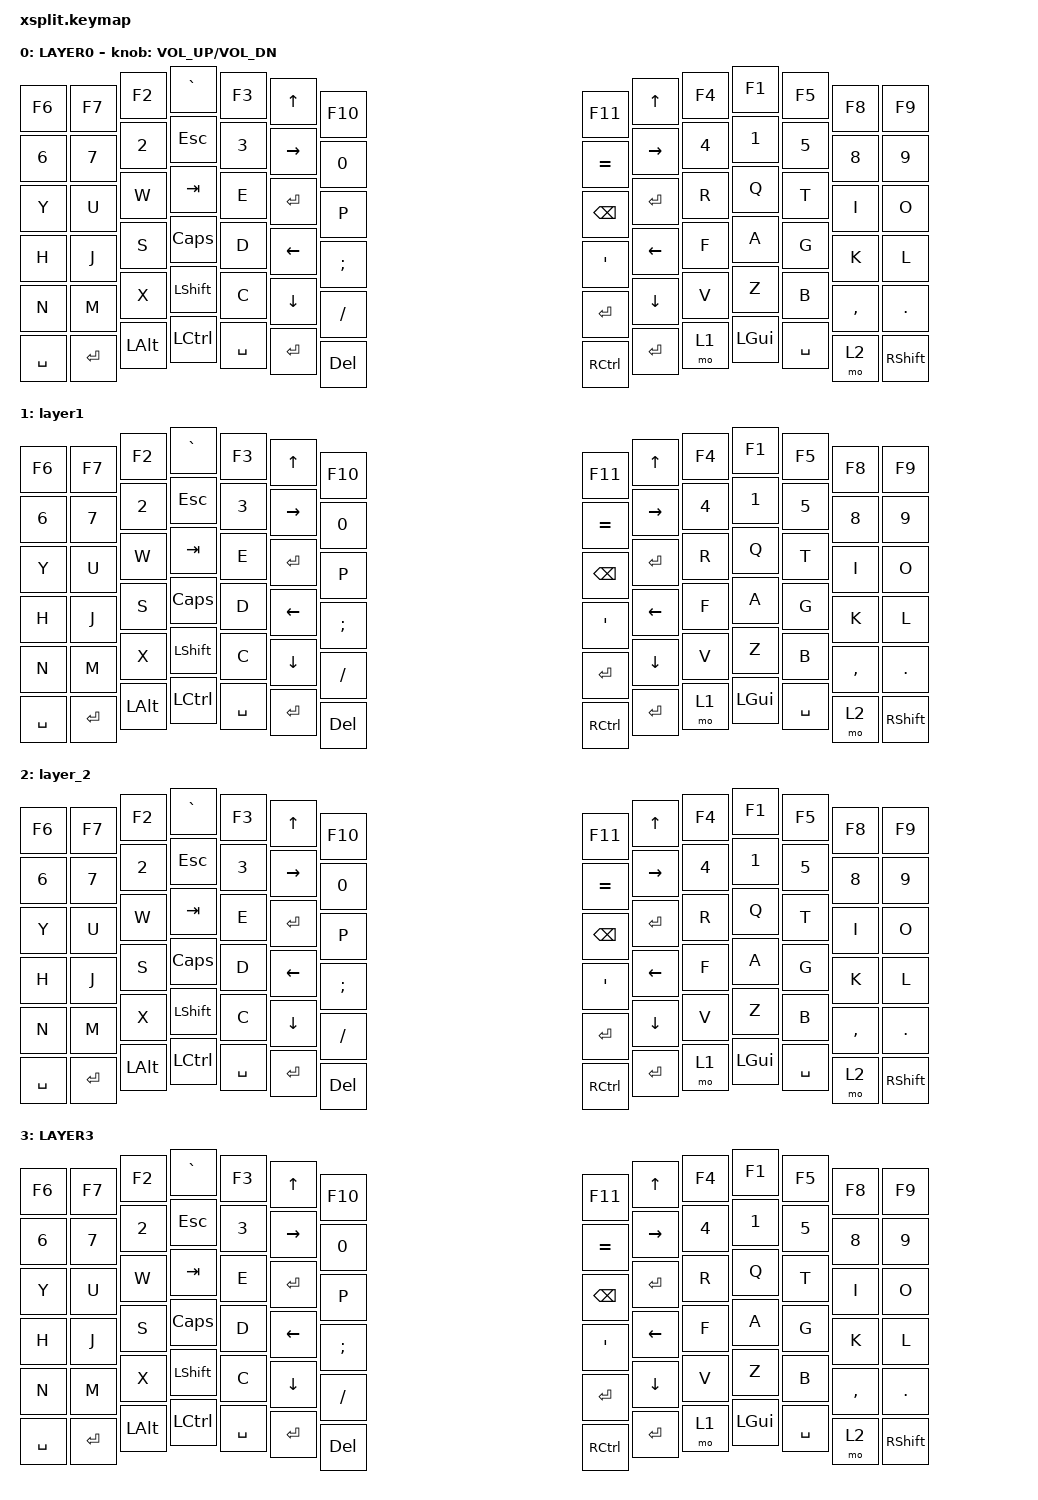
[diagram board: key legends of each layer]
#define ZMK_POINTING_DEFAULT_MOVE_VAL 1200  // 600
#define ZMK_POINTING_DEFAULT_SCRL_VAL 25   // 10

#include <input/processors.dtsi>
#include <zephyr/dt-bindings/input/input-event-codes.h>
#include <behaviors.dtsi>
#include <dt-bindings/zmk/keys.h>
#include <dt-bindings/zmk/pointing.h>

&mmv_input_listener { input-processors = <&zip_xy_scaler 2 1>; };

&msc_input_listener { input-processors = <&zip_scroll_scaler 2 1>; };

&msc {
    acceleration-exponent = <1>;      // 0
    time-to-max-speed-ms = <100>;       // 300
    delay-ms = <0>;                   // 0
};

&mmv {
    time-to-max-speed-ms = <500>;
    acceleration-exponent = <1>;
    trigger-period-ms = <16>;
};

&lt {
};

/ {
    scroll_encoder: scroll_encoder {
        compatible = "zmk,behavior-sensor-rotate";
        #sensor-binding-cells = <0>;
        bindings = <&msc SCRL_DOWN>, <&msc SCRL_UP>;

        tap-ms = <100>;
    };

    behaviors {
    };

    xsplit_keymap: keymap {
        compatible = "zmk,keymap";

        layer0 {
            bindings = <
&kp GRAVE  &kp F1    &kp F2    &kp F3     &kp F4  &kp F5     &kp UP     &kp UP     &kp F6     &kp F7     &kp F8     &kp F9           &kp F10     &kp F11
&kp ESC    &kp N1    &kp N2    &kp N3     &kp N4  &kp N5     &kp RIGHT  &kp RIGHT  &kp N6     &kp N7     &kp N8     &kp N9           &kp N0      &kp EQUAL
&kp TAB    &kp Q     &kp W     &kp E      &kp R   &kp T      &kp RET    &kp RET    &kp Y      &kp U      &kp I      &kp O            &kp P       &kp BSPC
&kp CAPS   &kp A     &kp S     &kp D      &kp F   &kp G      &kp LEFT   &kp LEFT   &kp H      &kp J      &kp K      &kp L            &kp SEMI    &kp APOS
&kp LSHFT  &kp Z     &kp X     &kp C      &kp V   &kp B      &kp DOWN   &kp DOWN   &kp N      &kp M      &kp COMMA  &kp DOT          &kp FSLH    &kp ENTER
&kp LCTRL  &kp LGUI  &kp LALT  &kp SPACE  &mo 1   &kp SPACE  &kp ENTER  &kp ENTER  &kp SPACE  &kp ENTER  &mo 2      &kp RIGHT_SHIFT  &kp DELETE  &kp RCTRL
            >;

            sensor-bindings = <&inc_dec_kp C_VOLUME_UP C_VOL_DN>;
            display-name = "LAYER0";
        };

        layer_1 {
            bindings = <
&kp GRAVE  &kp F1    &kp F2    &kp F3     &kp F4  &kp F5     &kp UP     &kp UP     &kp F6     &kp F7     &kp F8     &kp F9           &kp F10     &kp F11
&kp ESC    &kp N1    &kp N2    &kp N3     &kp N4  &kp N5     &kp RIGHT  &kp RIGHT  &kp N6     &kp N7     &kp N8     &kp N9           &kp N0      &kp EQUAL
&kp TAB    &kp Q     &kp W     &kp E      &kp R   &kp T      &kp RET    &kp RET    &kp Y      &kp U      &kp I      &kp O            &kp P       &kp BSPC
&kp CAPS   &kp A     &kp S     &kp D      &kp F   &kp G      &kp LEFT   &kp LEFT   &kp H      &kp J      &kp K      &kp L            &kp SEMI    &kp APOS
&kp LSHFT  &kp Z     &kp X     &kp C      &kp V   &kp B      &kp DOWN   &kp DOWN   &kp N      &kp M      &kp COMMA  &kp DOT          &kp FSLH    &kp ENTER
&kp LCTRL  &kp LGUI  &kp LALT  &kp SPACE  &mo 1   &kp SPACE  &kp ENTER  &kp ENTER  &kp SPACE  &kp ENTER  &mo 2      &kp RIGHT_SHIFT  &kp DELETE  &kp RCTRL
            >;

            display-name = "layer1";
        };

        layer_2 {
            bindings = <
&kp GRAVE  &kp F1    &kp F2    &kp F3     &kp F4  &kp F5     &kp UP     &kp UP     &kp F6     &kp F7     &kp F8     &kp F9           &kp F10     &kp F11
&kp ESC    &kp N1    &kp N2    &kp N3     &kp N4  &kp N5     &kp RIGHT  &kp RIGHT  &kp N6     &kp N7     &kp N8     &kp N9           &kp N0      &kp EQUAL
&kp TAB    &kp Q     &kp W     &kp E      &kp R   &kp T      &kp RET    &kp RET    &kp Y      &kp U      &kp I      &kp O            &kp P       &kp BSPC
&kp CAPS   &kp A     &kp S     &kp D      &kp F   &kp G      &kp LEFT   &kp LEFT   &kp H      &kp J      &kp K      &kp L            &kp SEMI    &kp APOS
&kp LSHFT  &kp Z     &kp X     &kp C      &kp V   &kp B      &kp DOWN   &kp DOWN   &kp N      &kp M      &kp COMMA  &kp DOT          &kp FSLH    &kp ENTER
&kp LCTRL  &kp LGUI  &kp LALT  &kp SPACE  &mo 1   &kp SPACE  &kp ENTER  &kp ENTER  &kp SPACE  &kp ENTER  &mo 2      &kp RIGHT_SHIFT  &kp DELETE  &kp RCTRL
            >;
        };

        layer_3 {
            display-name = "LAYER3";
            bindings = <
&kp GRAVE  &kp F1    &kp F2    &kp F3     &kp F4  &kp F5     &kp UP     &kp UP     &kp F6     &kp F7     &kp F8     &kp F9           &kp F10     &kp F11
&kp ESC    &kp N1    &kp N2    &kp N3     &kp N4  &kp N5     &kp RIGHT  &kp RIGHT  &kp N6     &kp N7     &kp N8     &kp N9           &kp N0      &kp EQUAL
&kp TAB    &kp Q     &kp W     &kp E      &kp R   &kp T      &kp RET    &kp RET    &kp Y      &kp U      &kp I      &kp O            &kp P       &kp BSPC
&kp CAPS   &kp A     &kp S     &kp D      &kp F   &kp G      &kp LEFT   &kp LEFT   &kp H      &kp J      &kp K      &kp L            &kp SEMI    &kp APOS
&kp LSHFT  &kp Z     &kp X     &kp C      &kp V   &kp B      &kp DOWN   &kp DOWN   &kp N      &kp M      &kp COMMA  &kp DOT          &kp FSLH    &kp ENTER
&kp LCTRL  &kp LGUI  &kp LALT  &kp SPACE  &mo 1   &kp SPACE  &kp ENTER  &kp ENTER  &kp SPACE  &kp ENTER  &mo 2      &kp RIGHT_SHIFT  &kp DELETE  &kp RCTRL
            >;
        };
    };
};
